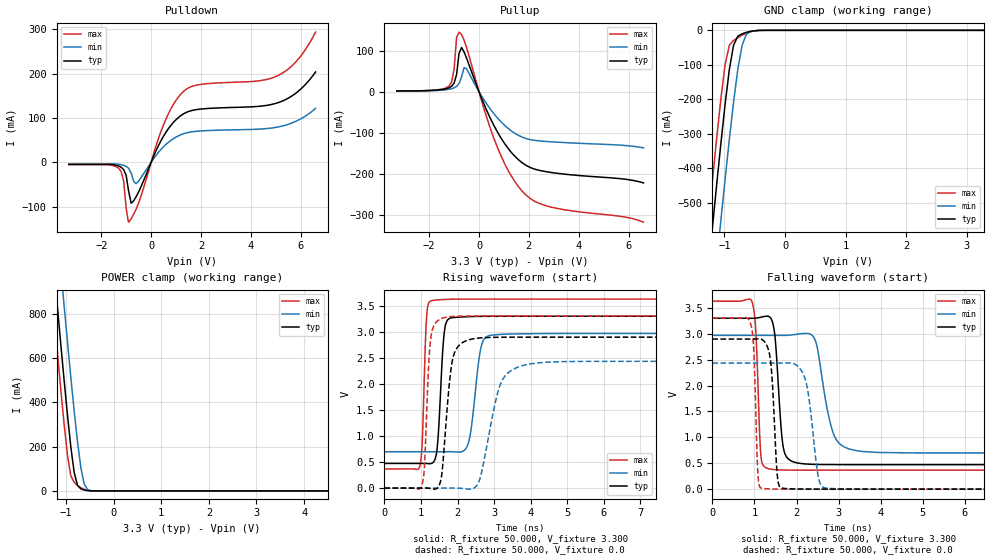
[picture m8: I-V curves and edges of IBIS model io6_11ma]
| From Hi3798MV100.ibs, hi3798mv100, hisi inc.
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|   Model io6_11ma
[Model] io6_11ma
Model_type I/O
Enable   Active-Low
C_comp   2.641pF   2.311pF   2.895pF
C_comp_pullup   1.542pF   1.367pF   1.663pF
C_comp_pulldown   0.967pF   0.862pF   1.042pF
[Temperature Range]   25.000   0.125k   -40.000
[Voltage Range]   3.300V   2.970V   3.630V
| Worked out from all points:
|   slope of the pulldown table from 0 to 0.495 V, typ, clamps not added: 8.44 ohm
|   slope of the pullup table from 0 to 0.495 V, typ, clamps not added: 7.09 ohm
|   GND clamp passes 1 mA (typ) near -0.48 V on its own axis
|   POWER clamp passes 1 mA (typ) near -0.52 V on its own axis
|   rising waveform, R_fixture 50.000, V_fixture 3.300: 20-80 % time 130ps typ, 220ps min, 88.8ps max; typ from 0.474 V to 3.3 V
|   rising waveform, R_fixture 50.000, V_fixture 0.0: 20-80 % time 217ps typ, 436ps min, 124ps max; typ from 0.001 V to 2.9 V
|   falling waveform, R_fixture 50.000, V_fixture 3.300: 20-80 % time 139ps typ, 305ps min, 88.8ps max; typ from 3.3 V to 0.474 V
|   falling waveform, R_fixture 50.000, V_fixture 0.0: 20-80 % time 114ps typ, 214ps min, 76.1ps max; typ from 2.9 V to 0.001 V
[Pulldown]
|Voltage   I(typ)   I(min)   I(max)
-3.3V     -4.703mA   -3.627mA   -5.234mA
-1.3V     -8.304mA   -4.365mA   -13.4mA
-1.1V     -16.51mA   -6.73mA    -43.19mA
-1V       -29.62mA   -9.101mA   -103.7mA
-900mV    -65.29mA   -13.63mA   -134.9mA
-800mV    -92.11mA   -23.83mA   -127.2mA
-600mV    -77.39mA   -48.09mA   -105.4mA
500mV     59.12mA    35.31mA    84.85mA
1.2V      105.7mA    62.4mA     154.4mA
5V        133mA      78.82mA    193.5mA
5.8V      155.6mA    92.26mA    226.1mA
6.6V      203.8mA    121.7mA    293.7mA
[Pullup]
|Voltage   I(typ)   I(min)   I(max)
-3.3V     1.833mA    1.688mA    1.857mA
-1.2V     9.528mA    5.856mA    14.09mA
-1V       20.8mA     9.258mA    54.45mA
-900mV    41.86mA    12.82mA    132.4mA
-800mV    93.64mA    19.94mA    145mA
-700mV    107.5mA    36.35mA    138.8mA
-500mV    81.76mA    55.79mA    107.9mA
700mV     -93.78mA   -61.08mA   -129.6mA
1.2V      -140.4mA   -90.88mA   -195mA
1.8V      -175.7mA   -112.1mA   -246.2mA
2.9V      -196.5mA   -121.8mA   -280.8mA
6.6V      -221.8mA   -136.7mA   -317.4mA
[GND_clamp]
|Voltage   I(typ)   I(min)   I(max)
-3.3V     -4.517A    -4.69A     -4.416A
-1.27V    -700.5mA   -927.1mA   -564.6mA
-1.2V     -573.8mA   -800.2mA   -438.1mA
-1.06V    -328.9mA   -551.9mA   -199.2mA
-990mV    -214.8mA   -431.8mA   -99.7mA
-920mV    -114mA     -316.2mA   -43.53mA
-850mV    -43.24mA   -208mA     -29.29mA
-780mV    -17.1mA    -113.2mA   -21.3mA
-710mV    -9.984mA   -44.04mA   -14.34mA
-640mV    -5.898mA   -11.93mA   -8.548mA
-430mV    -290.1uA   -417uA     -293.3uA
3.28V     0A         0A         0A
[POWER_clamp]
|Voltage   I(typ)   I(min)   I(max)
-3.28V    6.17A      6.491A     5.979A
-1.32V    1.171A     1.514A     963.5mA
-1.25V    998.8mA    1.342A     791.6mA
-1.18V    828.8mA    1.171A     622.5mA
-1.04V    498.6mA    836.2mA    300.3mA
-970mV    342.4mA    672.8mA    160.5mA
-900mV    199.2mA    514.1mA    67.64mA
-830mV    84.45mA    362.5mA    39.03mA
-690mV    9.426mA    106.7mA    13.99mA
-620mV    4.06mA     32.35mA    6.988mA
-480mV    331.6uA    966.8uA    576.2uA
6.6V      -86.79uA   -108.3nA   -146.3uA
[Ramp]
| variable   typ   min   max
dV/dt_r   1.739/0.218n   1.461/0.437n   1.982/0.128n
dV/dt_f   1.696/0.142n   1.363/0.307n   1.958/93.542p
R_load = 50.000
[Rising Waveform]
R_fixture= 50.000
V_fixture= 3.300
V_fixture_min= 2.970
V_fixture_max= 3.630
|time   V(typ)   V(min)   V(max)
0s        473.8mV    698.7mV    367.4mV
970ps     473.8mV    698.7mV    428.3mV
1.147ns   473.5mV    698.7mV    3.208V
1.271ns   471mV      698.7mV    3.595V
1.44ns    752.4mV    698.7mV    3.612V
1.628ns   2.93V      698.8mV    3.621V
1.796ns   3.262V     699.2mV    3.626V
2.292ns   3.292V     856.9mV    3.63V
2.822ns   3.299V     2.918V     3.63V
10ns      3.3V       2.97V      3.63V
[Rising Waveform]
R_fixture= 50.000
V_fixture= 0.0
V_fixture_min= 0.0
V_fixture_max= 0.0
|time   V(typ)   V(min)   V(max)
0s        500.1uV    0V         609.8uV
1.029ns   491.3uV    0V         69.87mV
1.261ns   -7.367mV   2.601uV    2.845V
1.54ns    145.5mV    -4.385uV   3.249V
1.856ns   2.441V     552.5uV    3.295V
2.187ns   2.815V     -11.17mV   3.303V
2.592ns   2.882V     137mV      3.304V
3.131ns   2.897V     1.909V     3.304V
3.587ns   2.898V     2.305V     3.304V
10ns      2.899V     2.435V     3.304V
[Falling Waveform]
R_fixture= 50.000
V_fixture= 3.300
V_fixture_min= 2.970
V_fixture_max= 3.630
|time   V(typ)   V(min)   V(max)
0s        3.3V       2.97V      3.63V
949ps     3.299V     2.97V      3.606V
1.155ns   3.32V      2.97V      636.4mV
1.296ns   3.341V     2.97V      405.8mV
1.484ns   2.98V      2.97V      376.9mV
1.685ns   808.8mV    2.969V     370mV
1.881ns   542.4mV    2.979V     368.2mV
2.436ns   478.5mV    2.892V     367.4mV
3.225ns   474mV      783.5mV    367.4mV
10ns      473.8mV    698.7mV    367.4mV
[Falling Waveform]
R_fixture= 50.000
V_fixture= 0.0
V_fixture_min= 0.0
V_fixture_max= 0.0
|time   V(typ)   V(min)   V(max)
0s        2.899V     2.435V     3.304V
908ps     2.898V     2.436V     3.201V
988ps     2.899V     2.436V     2.609V
1.084ns   2.904V     2.436V     268mV
1.161ns   2.895V     2.436V     18.9mV
1.379ns   2.502V     2.436V     4.856mV
1.635ns   23.62mV    2.435V     1.532mV
2.205ns   1.829mV    2.13V      638.9uV
2.655ns   674.1uV    28.77mV    612.2uV
10ns      500.2uV    0V         609.9uV
